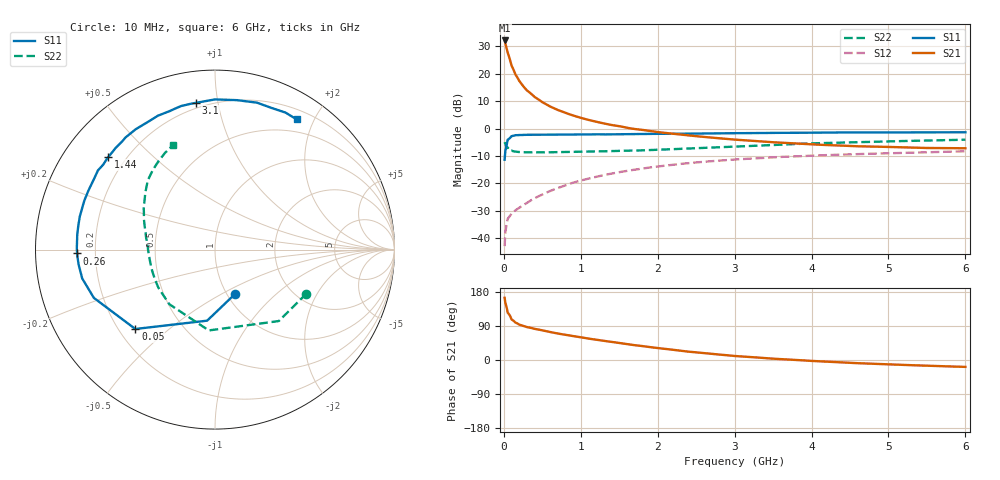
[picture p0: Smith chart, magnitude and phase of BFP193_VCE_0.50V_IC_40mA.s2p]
! Infineon Technologies  Discrete & RF Semiconductors
! BFP193
! VCE = 0.50V,  IC =  40 mA
! Common Emitter S-Parameters:  Jan 2016
# GHz  S  MA  R  50
!  f  S11  S21  S12  S22
! GHz  MAG  ANG  MAG  ANG  MAG  ANG  MAG  ANG
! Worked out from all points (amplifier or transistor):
!   210 points, 10 MHz to 6 GHz, reference 50 ohm
!   highest |S21| = 32.2 dB at 10 MHz (marker M1)
!   |S21| within 3 dB of that: start of sweep to 37.04 MHz
!   unconditionally stable (mu >= 1): start of sweep to 11.9 MHz; 257.2 MHz to end of sweep
!   at 185 MHz: K = 0.85, MSG = 23.7 dB, |S12| = -29.2 dB
!   at 1.52 GHz: K = 1.26, MAG = 5.2 dB, |S12| = -15.8 dB
!   at 6 GHz: K = 1.09, MAG = -1.3 dB, |S12| = -8.3 dB
!   S11 on the Smith chart (normalised r, x): 10 MHz: 1.10, -0.58; 50 MHz: 0.27, -0.39; 260 MHz: 0.13, -0.01; 1.44 GHz: 0.14, +0.37; 3.1 GHz: 0.17, +0.86; 6 GHz: 0.32, +1.76
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0.01  0.2703 -65.1  40.77 164.2  0.0071 69.2  0.5651 -25.7
0.02  0.3983 -96.3  36.29 150.2  0.0129 62.2  0.5339 -48.2
0.05  0.6267 -135.1  24.47 124.9  0.0224 46.0  0.4517 -94.4
0.1  0.7267 -158.3  14.19 107.1  0.028 40.4  0.3966 -130.0
0.15  0.7571 -167.7  9.798 98.8  0.032 42.4  0.3806 -145.8
0.2  0.7643 -173.7  7.459 93.4  0.0357 44.9  0.3728 -154.5
0.24  0.7674 -177.0  6.253 90.7  0.0388 47.5  0.3702 -159.2
0.26  0.7687 -178.4  5.76 89.3  0.0405 48.7  0.3696 -161.1
0.3  0.7699 179.4  4.989 86.9  0.044 50.9  0.3689 -164.1
0.4  0.7719 173.9  3.784 82.2  0.0533 54.7  0.3678 -169.5
0.5  0.7733 169.9  3.038 78.1  0.0624 56.9  0.3682 -173.1
0.6  0.7756 166.1  2.537 73.8  0.0722 58.0  0.3691 -175.8
0.7  0.7758 162.3  2.192 69.8  0.0818 58.7  0.3712 -178.1
0.8  0.7774 159.3  1.931 66.5  0.0924 58.5  0.373 -180.0
1.02  0.7788 151.8  1.545 59.3  0.1141 57.5  0.3776 176.4
1.2  0.7875 145.9  1.332 53.4  0.1314 55.9  0.3823 173.6
1.44  0.7869 139.0  1.14 46.7  0.1543 52.8  0.3892 170.3
2.02  0.8027 122.9  0.858 31.1  0.2046 44.5  0.4114 162.1
3.1  0.8245 97.4  0.615 9.3  0.2773 28.7  0.4741 146.2
4.1  0.8425 80.1  0.507 -3.4  0.3244 15.5  0.5415 133.0
5.1  0.8509 67.3  0.458 -12.2  0.3572 4.2  0.5882 121.6
6  0.8563 57.9  0.437 -18.2  0.3848 -5.5  0.6262 112.0
